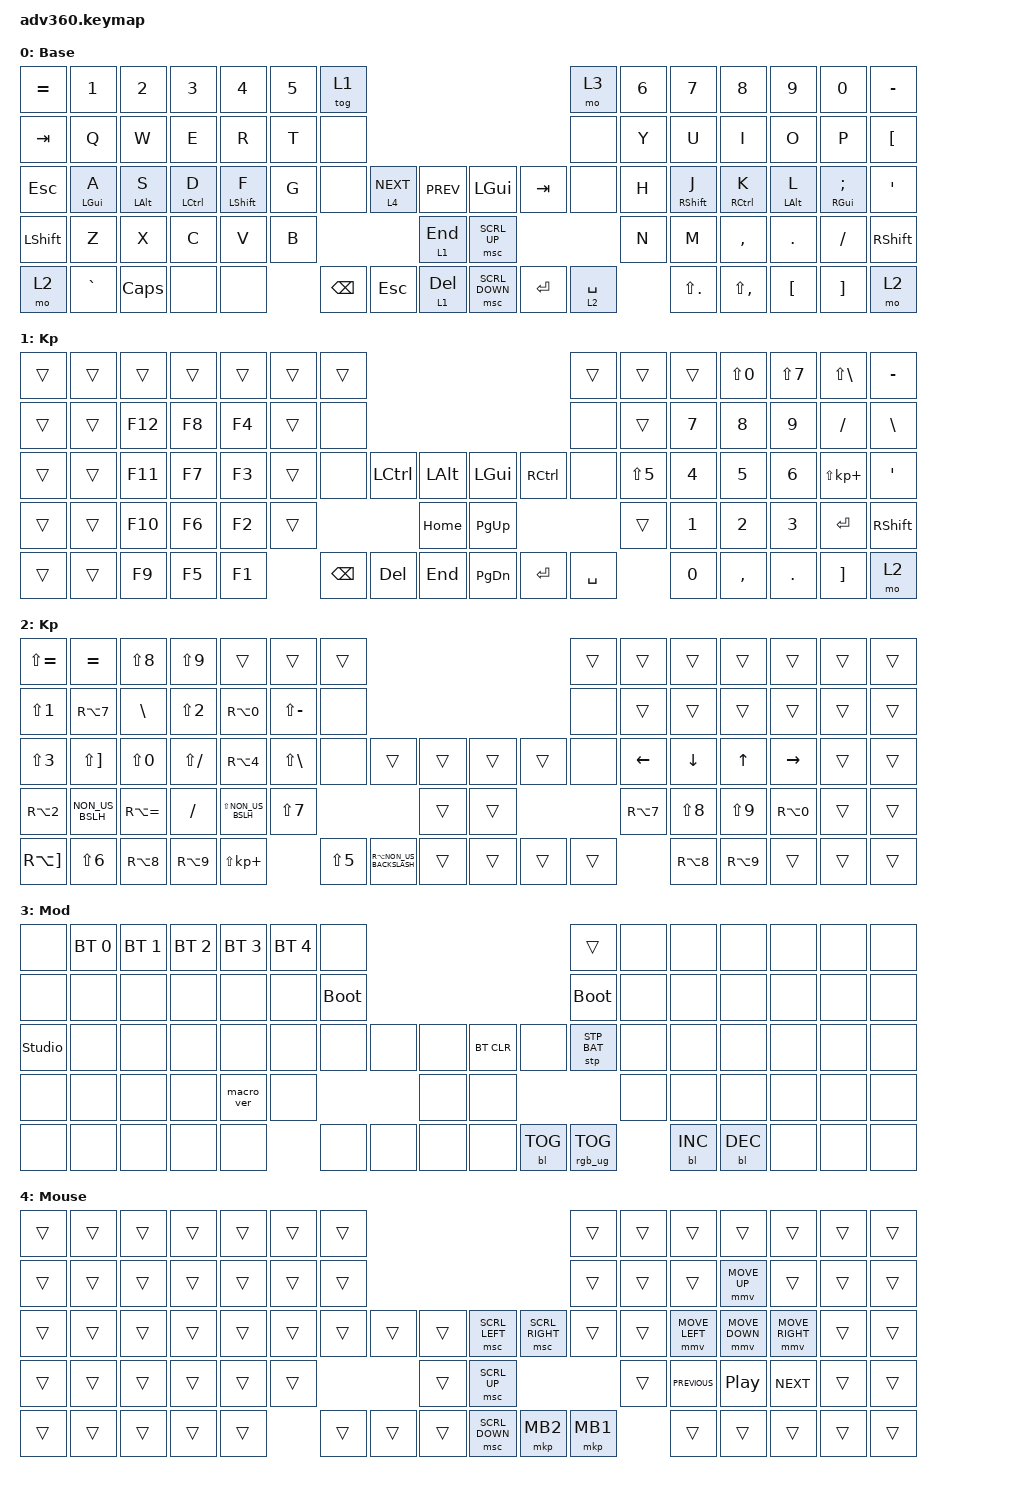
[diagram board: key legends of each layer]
#include <dt-bindings/zmk/stp.h>
#include <behaviors.dtsi>
#include <dt-bindings/zmk/backlight.h>
#include <dt-bindings/zmk/bt.h>
#include <dt-bindings/zmk/keys.h>
#include <dt-bindings/zmk/pointing.h>
#include <dt-bindings/zmk/rgb.h>

/ {
    behaviors {
        #include "macros.dtsi"
      #include "version.dtsi"

        hm: homerow_mods {
            compatible = "zmk,behavior-hold-tap";
            label = "HOMEROW_MODS";
            #binding-cells = <2>;
            require-prior-idle-ms = <150>;
            tapping-term-ms = <200>;
            quick-tap-ms = <200>;
            flavor = "tap-preferred";
            bindings = <&kp>, <&kp>;
        };
    };

    keymap {
        compatible = "zmk,keymap";

        Base {
            display-name = "Base";
            bindings = <
&kp EQUAL  &kp N1      &kp N2      &kp N3       &kp N4       &kp N5  &tog 1                                                               &mo 3        &kp N6  &kp N7          &kp N8         &kp N9      &kp N0              &kp MINUS
&kp TAB    &kp Q       &kp W       &kp E        &kp R        &kp T   &none                                                                &none        &kp Y   &kp U           &kp I          &kp O       &kp P               &kp LEFT_BRACKET
&kp ESC    &hm LGUI A  &hm LALT S  &hm LCTRL D  &hm LSHFT F  &kp G   &none     &lt 4 C_NEXT  &kp C_PREV        &kp LGUI        &kp TAB    &none        &kp H   &hm RSHFT J     &hm RCTRL K    &hm LALT L  &hm RGUI SEMICOLON  &kp SQT
&kp LSHFT  &kp Z       &kp X       &kp C        &kp V        &kp B                           &lt 1 END         &msc SCRL_UP                            &kp N   &kp M           &kp COMMA      &kp DOT     &kp FSLH            &kp RSHFT
&mo 2      &kp GRAVE   &kp CAPS    &none        &none                &kp BSPC  &kp ESCAPE    &lt 1 DELETE      &msc SCRL_DOWN  &kp ENTER  &lt 2 SPACE          &kp LS(PERIOD)  &kp LS(COMMA)  &kp LBKT    &kp RBKT            &mo 2
            >;
        };

        keypad {
            display-name = "Kp";
            bindings = <
&trans  &trans  &trans   &trans  &trans  &trans  &trans                                                   &trans     &trans      &trans        &kp LS(N0)    &kp LS(NUMBER_7)  &kp LS(BACKSLASH)  &kp MINUS
&trans  &trans  &kp F12  &kp F8  &kp F4  &trans  &none                                                    &none      &trans      &kp NUMBER_7  &kp NUMBER_8  &kp NUMBER_9      &kp SLASH          &kp BSLH
&trans  &trans  &kp F11  &kp F7  &kp F3  &trans  &none     &kp LCTRL  &kp LALT      &kp LGUI   &kp RCTRL  &none      &kp LS(N5)  &kp NUMBER_4  &kp NUMBER_5  &kp NUMBER_6      &kp LS(KP_PLUS)    &kp SQT
&trans  &trans  &kp F10  &kp F6  &kp F2  &trans                       &kp HOME      &kp PG_UP                        &trans      &kp NUMBER_1  &kp NUMBER_2  &kp NUMBER_3      &kp ENTER          &kp RSHFT
&trans  &trans  &kp F9   &kp F5  &kp F1          &kp BSPC  &kp DEL    &kp END       &kp PG_DN  &kp ENTER  &kp SPACE              &kp N0        &kp COMMA     &kp PERIOD        &kp RBKT           &mo 2
            >;
        };

        Symbol {
            display-name = "Kp";
            bindings = <
&kp LS(EQUAL)          &kp EQUAL              &kp LS(N8)     &kp LS(N9)     &trans               &trans             &trans                                                            &trans  &trans          &trans          &trans        &trans           &trans  &trans
&kp LS(N1)             &kp RA(N7)             &kp BACKSLASH  &kp LS(N2)     &kp RA(N0)           &kp LS(MINUS)      &none                                                             &none   &trans          &trans          &trans        &trans           &trans  &trans
&kp LS(NUMBER_3)       &kp LS(RIGHT_BRACKET)  &kp LS(N0)     &kp LS(SLASH)  &kp RA(NUMBER_4)     &kp LS(BACKSLASH)  &none       &trans                    &trans      &trans  &trans  &none   &kp LEFT_ARROW  &kp DOWN_ARROW  &kp UP_ARROW  &kp RIGHT_ARROW  &trans  &trans
&kp RA(NUMBER_2)       &kp NON_US_BSLH        &kp RA(EQUAL)  &kp SLASH      &kp LS(NON_US_BSLH)  &kp LS(N7)                                               &trans      &trans                  &kp RA(N7)      &kp LS(N8)      &kp LS(N9)    &kp RA(N0)       &trans  &trans
&kp RA(RIGHT_BRACKET)  &kp LS(N6)             &kp RA(N8)     &kp RA(N9)     &kp LS(KP_PLUS)                         &kp LS(N5)  &kp RA(NON_US_BACKSLASH)  &trans      &trans  &trans  &trans                  &kp RA(N8)      &kp RA(N9)    &trans           &trans  &trans
            >;
        };

        mod {
            display-name = "Mod";
            bindings = <
&none           &bt BT_SEL 0  &bt BT_SEL 1  &bt BT_SEL 2  &bt BT_SEL 3  &bt BT_SEL 4  &none                                                  &trans           &none  &none       &none       &none  &none  &none
&none           &none         &none         &none         &none         &none         &bootloader                                            &bootloader      &none  &none       &none       &none  &none  &none
&studio_unlock  &none         &none         &none         &none         &none         &none        &none  &none      &bt BT_CLR  &none       &stp STP_BAT     &none  &none       &none       &none  &none  &none
&none           &none         &none         &none         &macro_ver    &none                             &none      &none                                    &none  &none       &none       &none  &none  &none
&none           &none         &none         &none         &none                       &none        &none  &none      &none       &bl BL_TOG  &rgb_ug RGB_TOG         &bl BL_INC  &bl BL_DEC  &none  &none  &none
            >;
        };

        Mouse {
            bindings = <
&trans  &trans  &trans  &trans  &trans  &trans  &trans                                                       &trans    &trans  &trans          &trans            &trans           &trans  &trans
&trans  &trans  &trans  &trans  &trans  &trans  &trans                                                       &trans    &trans  &trans          &mmv MOVE_UP      &trans           &trans  &trans
&trans  &trans  &trans  &trans  &trans  &trans  &trans  &trans  &trans      &msc SCRL_LEFT  &msc SCRL_RIGHT  &trans    &trans  &mmv MOVE_LEFT  &mmv MOVE_DOWN    &mmv MOVE_RIGHT  &trans  &trans
&trans  &trans  &trans  &trans  &trans  &trans                  &trans      &msc SCRL_UP                               &trans  &kp C_PREVIOUS  &kp C_PLAY_PAUSE  &kp C_NEXT       &trans  &trans
&trans  &trans  &trans  &trans  &trans          &trans  &trans  &trans      &msc SCRL_DOWN  &mkp MB2         &mkp MB1          &trans          &trans            &trans           &trans  &trans
            >;
        };
    };
};
